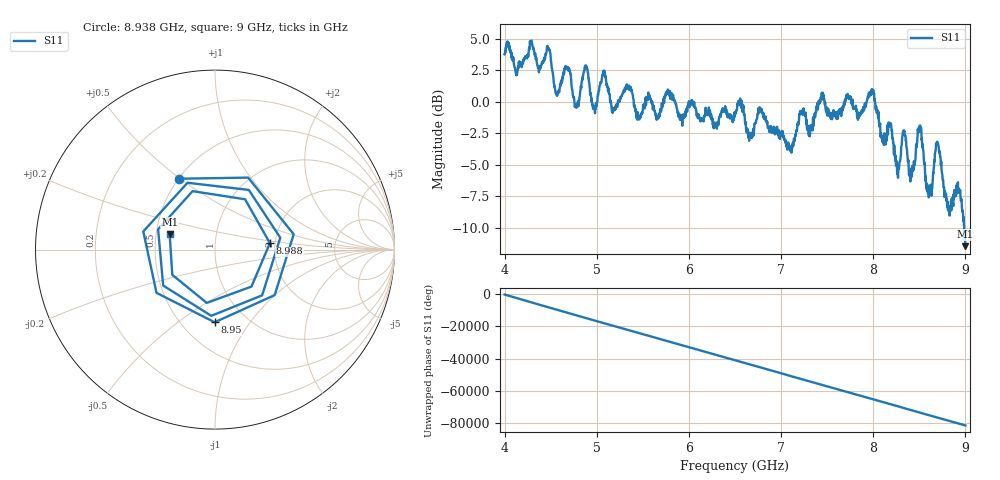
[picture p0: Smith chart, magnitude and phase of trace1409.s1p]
! Created with skrf 1.8.0 (http://scikit-rf.org).
# Hz S RI R 50.0
!freq ReS11 ImS11
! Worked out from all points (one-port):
!   1601 points, 4 GHz to 9 GHz, reference 50 ohm
!   lowest |S11| = -11.5 dB at 9 GHz (marker M1), VSWR 1.73, Z = 29.4 + j5.53 ohm
!   |S11| at or under -10 dB: 8.986192 GHz to end of sweep
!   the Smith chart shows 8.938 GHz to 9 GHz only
!   S11 on the Smith chart (normalised r, x): 8.938 GHz: 0.50, +0.49; 8.95 GHz: 0.72, -0.69; 8.988 GHz: 1.87, +0.15; 9 GHz: 0.59, +0.11
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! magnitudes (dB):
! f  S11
! 4 GHz  3.8
! 4.472 GHz  4.2
! 4.559 GHz  0.8
! 4.625 GHz  1.7
! 4.694 GHz  2.7
! 4.781 GHz  -0.3
! 4.881 GHz  2.7
! 4.972 GHz  -0.6
! 5.075 GHz  2.2
! 5.25 GHz  0.0
! 5.875 GHz  -0.9
! 6.5 GHz  -1.1
! 7.125 GHz  -3.5
! 7.222 GHz  -0.9
! 7.75 GHz  0.5
! 7.984 GHz  1.0
! 8.262 GHz  -5.7
! 8.331 GHz  -2.3
! 8.375 GHz  -4.7
! 8.425 GHz  -5.1
! 8.503 GHz  -1.9
! 8.597 GHz  -6.8
! 8.697 GHz  -3.3
! 8.816 GHz  -8.4
! 8.938 GHz  -7.1
! 8.95 GHz  -7.9
! 8.988 GHz  -10.2
! 9 GHz  -11.5
